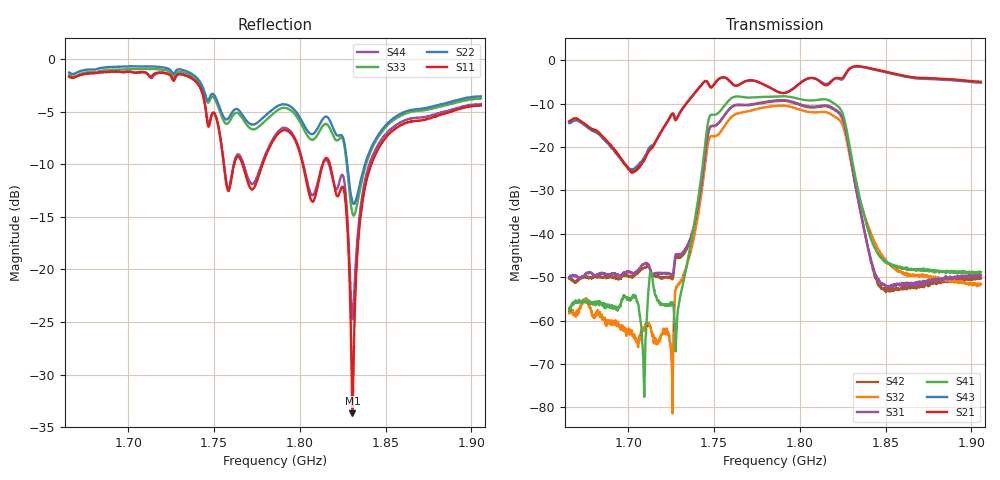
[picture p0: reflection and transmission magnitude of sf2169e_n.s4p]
# Hz  S  RI  R  75
! ADVANTEST Corporation R3860A
! Date: Sun Jul 02 19:09:26 2006
! P1234 S-Parameter Z1=75 Z2=75 Z3=75 Z4=75
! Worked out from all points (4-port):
!   1601 points, 1.665 GHz to 1.905 GHz, reference 75 ohm
!   strongest paths, dB at 1.665 GHz, 1.725 GHz, 1.785 GHz, 1.845 GHz, 1.905 GHz:
!     S21: -14.1, -12.3, -7.0, -2.2, -5.0
!     S43: -14.5, -12.5, -7.0, -2.4, -5.2
!     S41: -57.6, -56.2, -8.4, -44.6, -48.8
!     S31: -50.1, -49.4, -9.3, -50.7, -49.7
!     S32: -58.3, -72.5, -10.6, -43.5, -51.6
!     S42: -50.3, -50.2, -9.5, -51.7, -50.3
!   lowest |S11| = -33.7 dB at 1.831 GHz (marker M1), VSWR 1.04, Z = 75.6 - j3.06 ohm
!   |S11| at or under -10 dB: 1.767 GHz to 1.778 GHz (11.73 MHz wide, 0.662 % of centre); 1.802 GHz to 1.813 GHz (11.6 MHz wide, 0.642 % of centre); 1.817 GHz to 1.842 GHz (24.2 MHz wide, 1.32 % of centre) (the widest 3 of 4)
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1.66548e9  0.2913 -0.7734  -0.1573 -0.1205  -0.0031 -0.000616  -0.00125 -0.000277
           -0.1558 -0.1197  -0.0191 -0.8637  0.000847 0.000817  -0.00317 -0.000411
           -0.00303 -0.000745  0.000772 0.000934  1.25e-05 -0.8409  -0.1434 -0.1216
           -0.00129 -0.000246  -0.00303 -0.000428  -0.145 -0.1204  0.2868 -0.7793
1.72518e9  -0.2252 -0.787  0.1825 -0.1544  -0.0034 0.000361  -0.00153 -0.000192
           0.181 -0.1545  -0.38 -0.7872  -0.000113 -0.000274  -0.00308 0.000476
           -0.00339 0.00039  -7.66e-05 -0.000336  -0.359 -0.7812  0.187 -0.1398
           -0.00151 -0.000166  -0.00314 0.000458  0.1863 -0.139  -0.2022 -0.8096
1.74678e9  -0.3227 -0.3518  0.1779 -0.4967  0.153 -0.0112  -0.2052 -0.0156
           0.1783 -0.4966  -0.376 -0.5178  -0.1156 0.0276  0.1496 -0.013
           0.1527 -0.011  -0.1154 0.0273  -0.3724 -0.4992  0.2032 -0.4908
           -0.2053 -0.0157  0.15 -0.0131  0.2026 -0.4895  -0.3196 -0.3719
1.76073e9  -0.086 -0.2773  -0.0124 -0.5295  -0.1955 0.2217  0.3029 -0.2148
           -0.0132 -0.5297  -0.2591 -0.4995  0.1007 -0.2038  -0.1908 0.2199
           -0.1954 0.221  0.1006 -0.2035  -0.2466 -0.4765  0.000591 -0.531
           0.3028 -0.2148  -0.1905 0.22  0.000743 -0.5306  -0.0714 -0.2884
1.83063e9  0.0042 -0.0202  -0.2342 -0.803  0.0552 0.0139  -0.0544 -0.0397
           -0.2341 -0.8025  -0.0924 -0.1879  -0.0542 0.0119  0.0535 0.0135
           0.0551 0.0141  -0.0542 0.0119  -0.0797 -0.1661  -0.2211 -0.7957
           -0.0543 -0.0397  0.0535 0.0135  -0.2213 -0.7956  0.017 -0.0554
1.84803e9  0.3246 -0.2382  -0.5157 -0.5482  -0.00179 -0.00205  -0.0051 -0.000469
           -0.5157 -0.5482  0.1039 -0.4526  -6.45e-05 0.00559  -0.00157 -0.00178
           -0.00171 -0.002  -5.77e-05 0.00559  0.1235 -0.4367  -0.5024 -0.5448
           -0.00506 -0.000568  -0.00159 -0.00175  -0.5024 -0.5447  0.3265 -0.2667
1.90548e9  0.2611 -0.5432  -0.496 -0.2687  -0.00331 1.58e-05  -0.00361 0.000139
           -0.4961 -0.2686  -0.00171 -0.6656  9.06e-05 0.00264  -0.00311 -3.87e-06
           -0.00329 -2.94e-05  9.32e-05 0.00263  0.0128 -0.6506  -0.4774 -0.2728
           -0.00362 0.00013  -0.00306 -2.79e-05  -0.4774 -0.2727  0.2598 -0.5545
